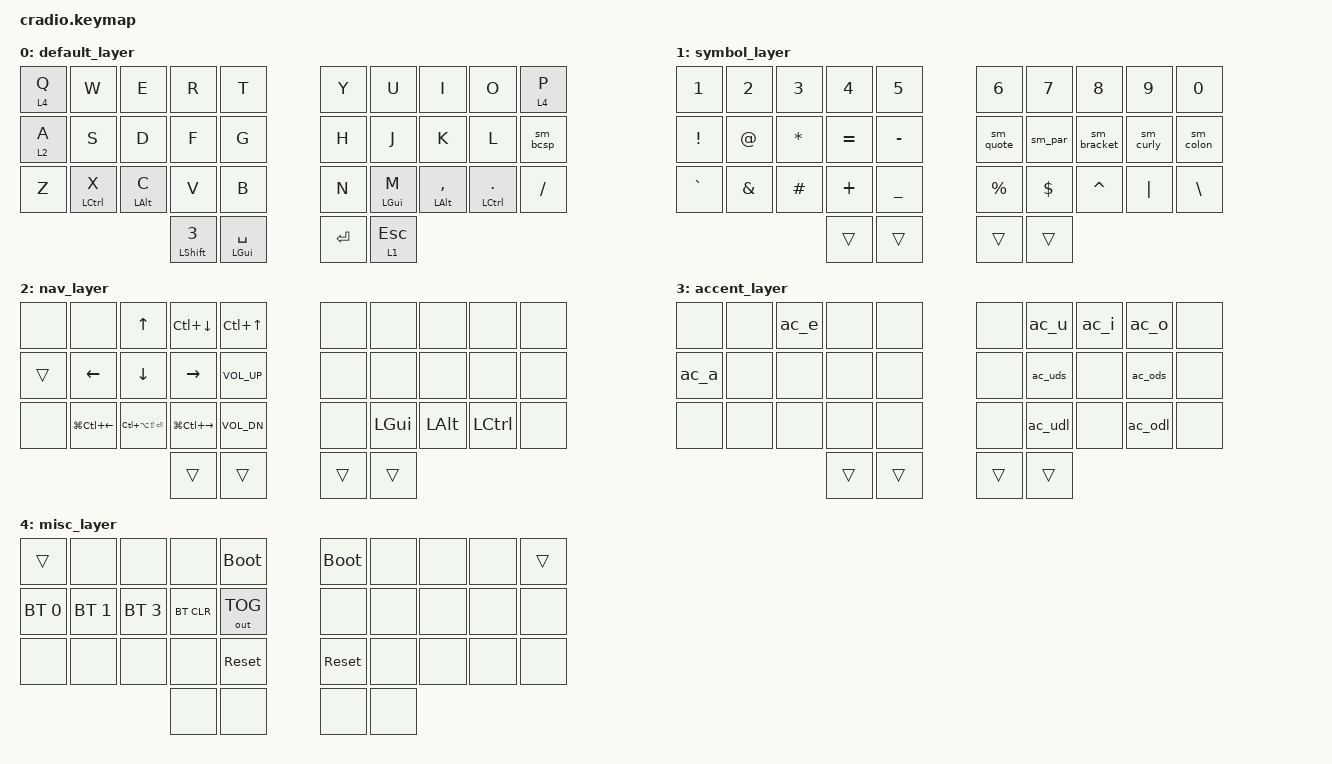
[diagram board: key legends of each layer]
// Copyright (c) 2022 The ZMK Contributors
// SPDX-License-Identifier: MIT

#include <behaviors.dtsi>
#include <dt-bindings/zmk/keys.h>
#include <dt-bindings/zmk/bt.h>
#include <dt-bindings/zmk/ext_power.h>
#include <dt-bindings/zmk/outputs.h>

/ {
    #define SHIFT_MORPH(NAME, KEY, MOD_KEY) \
        NAME: NAME { \
          compatible = "zmk,behavior-mod-morph"; \
          label = ZMK_MACRO_STRINGIFY(NAME); \
          #binding-cells = <0>; \
          bindings = <&kp KEY>, <&kp MOD_KEY>; \
          mods = <(MOD_LSFT|MOD_RSFT)>; \
      }; \

    #define ACCENTED_KEY(NAME, KEY, DEAD_KEY) \
        NAME##_l: NAME##_l { \
            label = ZMK_MACRO_STRINGIFY(NAME##_l); \
            wait-ms = <0>; \
            tap-ms = <0>; \
            compatible = "zmk,behavior-macro"; \
            #binding-cells = <0>; \
            bindings \
                = <&macro_press &kp LALT> \
                , <&macro_tap &kp DEAD_KEY> \
                , <&macro_release &kp LALT> \
                , <&macro_tap &kp KEY> \
                ; \
        }; \
        NAME##_u: NAME##_u { \
            label = ZMK_MACRO_STRINGIFY(NAME##_u); \
            wait-ms = <0>; \
            tap-ms = <0>; \
            compatible = "zmk,behavior-macro"; \
            #binding-cells = <0>; \
            bindings \
                = <&macro_release &kp LSHFT> \
                , <&macro_press &kp LALT> \
                , <&macro_tap &kp DEAD_KEY> \
                , <&macro_release &kp LALT> \
                , <&macro_press &kp LSHFT> \
                , <&macro_tap &kp KEY> \
                , <&macro_release &kp LSHFT> \
                ; \
        }; \
        NAME: NAME { \
            label = ZMK_MACRO_STRINGIFY(NAME); \
            compatible = "zmk,behavior-mod-morph"; \
            #binding-cells = <0>; \
            bindings = <&NAME##_l>, <&NAME##_u>; \
            mods = <(MOD_LSFT|MOD_RSFT)>; \
            keep-mods = <(MOD_LSFT|MOD_RSFT)>; \
        };

    shiftmorphs {
        SHIFT_MORPH(sm_bcsp, BSPC, DEL)
        SHIFT_MORPH(sm_esc, ESC, TAB)
        SHIFT_MORPH(sm_quote, DQT, SQT)
        SHIFT_MORPH(sm_par, LPAR, RPAR)
        SHIFT_MORPH(sm_bracket, LBKT, RBKT)
        SHIFT_MORPH(sm_curly, LBRC, RBRC)
        SHIFT_MORPH(sm_colon, COLON, SEMI)
        SHIFT_MORPH(sm_slash, SLASH, BSLH)
    };

    accents {
        ACCENTED_KEY(ac_e, E, E)
        ACCENTED_KEY(ac_a, A, E)
        ACCENTED_KEY(ac_i, I, E)
        ACCENTED_KEY(ac_o, O, E)
        ACCENTED_KEY(ac_u, U, E)
        ACCENTED_KEY(ac_ods, O, U)
        ACCENTED_KEY(ac_uds, U, U)
        ACCENTED_KEY(ac_odl, O, J)
        ACCENTED_KEY(ac_udl, U, J)
    };

    behaviors {
        ht: hold_tap {
            label = "hold_tap";
            compatible = "zmk,behavior-hold-tap";
            #binding-cells = <2>;
            flavor = "tap-preferred";
            tapping-term-ms = <220>;
            quick-tap-ms = <180>;
            global-quick-tap;
            bindings = <&kp>, <&kp>;
        };
        ht_b: hold_tap_balanced {
            label = "hold_tap_balanced";
            compatible = "zmk,behavior-hold-tap";
            #binding-cells = <2>;
            flavor = "balanced";
            tapping-term-ms = <160>;
            quick-tap-ms = <100>;
            global-quick-tap;
            bindings = <&kp>, <&kp>;
        };
        slm_lt: sticky_layer_tap {
            label = "sticky_layer_tap";
            compatible = "zmk,behavior-hold-tap";
            #binding-cells = <2>;
            flavor = "hold-preferred";
            tapping-term-ms = <200>;
            bindings = <&kp>, <&slm>;
        };
        slm: sticky_layer_mod {
			compatible = "zmk,behavior-sticky-key";
			label = "sticky_layer_mod";
			#binding-cells = <1>;
			release-after-ms = <1500>;
			bindings = <&mo>;
			ignore-modifiers;
		};
        lqt: layer_quick_tap {
            label = "layer_quick_tap";
            compatible = "zmk,behavior-hold-tap";
            #binding-cells = <2>;
            flavor = "tap-preferred";
            tapping-term-ms = <160>;
            quick-tap-ms = <100>;
            global-quick-tap;
            bindings = <&mo>, <&kp>;
        };
        skq: sticky_key_quick_release {
            compatible = "zmk,behavior-sticky-key";
            label = "STICKY_KEY_QUICK_RELEASE";
            #binding-cells = <1>;
            bindings = <&kp>;
            release-after-ms = <1000>;
            quick-release;
        };
        slt: slow_layer_tap {
            label = "slow_layer_tap";
            compatible = "zmk,behavior-hold-tap";
            #binding-cells = <2>;
            flavor = "tap-preferred";
            tapping-term-ms = <650>;
            quick-tap-ms = <600>;
            global-quick-tap;
            bindings = <&mo>, <&kp>;
        };
        lt_hp: layer_tap_hp {
            label = "layer_tap_hp";
            compatible = "zmk,behavior-hold-tap";
            #binding-cells = <2>;
            flavor = "hold-preferred";
            tapping-term-ms = <200>;
            bindings = <&mo>, <&sm_esc>;
        };
    };

    keymap {
        compatible = "zmk,keymap";
        default_layer {
            bindings = <
        //╭──────────┬──────────┬──────────┬──────────┬──────────╮   ╭──────────┬──────────┬──────────┬──────────┬──────────╮
        //│  Q       │  W       │  E       │  R       │  T       │   │  Y       │  U       │  I       │  O       │  P       │
            &slt 4 Q    &kp W      &kp E      &kp R      &kp T          &kp Y      &kp U      &kp I      &kp O     &slt 4 P
        //├──────────┼──────────┼──────────┼──────────┼──────────┤   ├──────────┼──────────┼──────────┼──────────┼──────────┤
        //│  A       │  S       │  D       │  F       │  G       │   │  H       │  J       │  K       │  L       │ bspc del │
            &lqt 2 A     &kp S      &kp D      &kp F      &kp G          &kp H      &kp J      &kp K      &kp L     &sm_bcsp
        //├──────────┼──────────┼──────────┼──────────┼──────────┤   ├──────────┼──────────┼──────────┼──────────┼──────────┤
        //│  Z       │  X       │  C       │  V       │  B       │   │  N       │  M       │ , <      │ . >      │ /?       │
            &kp Z    &ht LCTRL X  &ht LALT C &kp V      &kp B         &kp N   &ht LGUI M &ht LALT COMMA &ht LCTRL DOT &kp SLASH
        //╰──────────┴──────────┴──────────┼──────────┼──────────┤   ├──────────┼──────────┼──────────┴──────────┴──────────╯
                                   &slm_lt LSHIFT 3 &ht_b LGUI SPACE   &kp ENTER   &lt_hp 1 ESC
        //                                 ╰──────────┴──────────╯   ╰──────────┴──────────╯
            >;
        };

        symbol_layer {
            bindings = <
        //╭──────────┬──────────┬──────────┬──────────┬──────────╮   ╭──────────┬──────────┬──────────┬──────────┬──────────╮
        //│    1     │  2       │  3       │  4       │  5       │   │  6       │  7       │  8       │  9       │  0       │
            &kp N1     &kp N2     &kp N3    &kp N4      &kp N5         &kp N6     &kp N7     &kp N8     &kp N9     &kp N0
        //├──────────┼──────────┼──────────┼──────────┼──────────┤   ├──────────┼──────────┼──────────┼──────────┼──────────┤
        //│ !        │  @       │  *       │  =       │  -       │   │ " '      │  ( )     │  [ ]     │ { }      │    : ;   │
            &kp EXCL   &kp AT   &kp STAR   &kp EQUAL  &kp MINUS       &sm_quote   &sm_par  &sm_bracket  &sm_curly  &sm_colon
        //├──────────┼──────────┼──────────┼──────────┼──────────┤   ├──────────┼──────────┼──────────┼──────────┼──────────┤
        //│ `        │  &       │  #       │ +        │    _     │   │     %    │     $    │      ^   │   |      │     \  │
           &kp GRAVE   &kp AMPS   &kp HASH   &kp PLUS  &kp UNDER      &kp PRCNT   &kp DLLR  &kp CARET   &kp PIPE   &kp BACKSLASH
        //╰──────────┴──────────┴──────────┼──────────┼──────────┤   ├──────────┼──────────┼──────────┴──────────┴──────────╯
                                             &trans     &trans         &trans     &trans
        //                                 ╰──────────┴──────────╯   ╰──────────┴──────────╯
            >;
        };

        nav_layer {
            bindings = <
        //╭──────────┬──────────┬──────────┬──────────┬──────────╮              ╭──────────┬──────────┬──────────┬──────────┬──────────╮
        //│          │          │          │          │          │              │          │          │          │          │          │
            &none       &none     &kp UP   &kp LC(DOWN)  &kp LC(UP)                 &none       &none       &none    &none      &none
        //├──────────┼──────────┼──────────┼──────────┼──────────┤              ├──────────┼──────────┼──────────┼──────────┼──────────┤
        //│          │  left    │  down    │  right   │          │              │          │          │          │          │          │
            &trans     &kp LEFT   &kp DOWN   &kp RIGHT  &kp C_VOL_UP              &none      &none       &none     &none       &none
        //├──────────┼──────────┼──────────┼──────────┼──────────┤              ├──────────┼──────────┼──────────┼──────────┼──────────┤
        //│          │          │          │          │          │              │          │    GUI   │   ALT    │   CTRL   │          │
    &none  &kp LG(LC(LEFT)) &kp LC(LA(LS(ENTER))) &kp LG(LC(RIGHT)) &kp C_VOL_DN &none       &kp LGUI  &kp LALT    &kp LCTRL   &none
        //╰──────────┴──────────┴──────────┼──────────┼──────────┤              ├──────────┼──────────┼──────────┴──────────┴──────────╯
                                             &trans     &trans                    &trans     &trans
        //                                 ╰──────────┴──────────╯              ╰──────────┴──────────╯
            >;
        };

        accent_layer {
            bindings = <
        //╭──────────┬──────────┬──────────┬──────────┬──────────╮   ╭──────────┬──────────┬──────────┬──────────┬──────────╮
        //│          │          │          │          │          │   │          │          │          │          │          │
            &none     &none       &ac_e       &none      &none         &none       &ac_u     &ac_i     &ac_o       &none
        //├──────────┼──────────┼──────────┼──────────┼──────────┤   ├──────────┼──────────┼──────────┼──────────┼──────────┤
        //│          │          │          │          │          │   │          │          │          │          │          │
            &ac_a       &none       &none     &none     &none         &none        &ac_uds      &none   &ac_ods    &none
        //├──────────┼──────────┼──────────┼──────────┼──────────┤   ├──────────┼──────────┼──────────┼──────────┼──────────┤
        //│          │          │          │          │          │   │          │          │          │          │          │
             &none       &none       &none    &none      &none        &none       &ac_udl     &none     &ac_odl     &none
        //╰──────────┴──────────┴──────────┼──────────┼──────────┤   ├──────────┼──────────┼──────────┴──────────┴──────────╯
                                             &trans     &trans         &trans     &trans
        //                                 ╰──────────┴──────────╯   ╰──────────┴──────────╯
            >;
        };

        misc_layer {
            bindings = <
        //╭──────────┬──────────┬──────────┬──────────┬──────────╮   ╭──────────┬──────────┬──────────┬──────────┬──────────╮
        //│          │          │          │          │bootloader│   │bootloader│          │          │          │          │
            &trans     &none       &none      &none   &bootloader     &bootloader   &none   &none    &none        &trans
        //├──────────┼──────────┼──────────┼──────────┼──────────┤   ├──────────┼──────────┼──────────┼──────────┼──────────┤
        //│          │          │          │          │          │   │          │          │          │          │          │
    &bt BT_SEL 0 &bt BT_SEL 1 &bt BT_SEL 3  &bt BT_CLR &out OUT_TOG       &none     &none      &none       &none    &none
        //├──────────┼──────────┼──────────┼──────────┼──────────┤   ├──────────┼──────────┼──────────┼──────────┼──────────┤
        //│          │          │          │          │ reset    │   │  reset   │          │          │          │          │
            &none       &none      &none        &none    &sys_reset        &sys_reset      &none       &none   &none       &none
        //╰──────────┴──────────┴──────────┼──────────┼──────────┤   ├──────────┼──────────┼──────────┴──────────┴──────────╯
                                             &none      &none          &none      &none
        //                                 ╰──────────┴──────────╯   ╰──────────┴──────────╯
            >;
        };
    };
};
